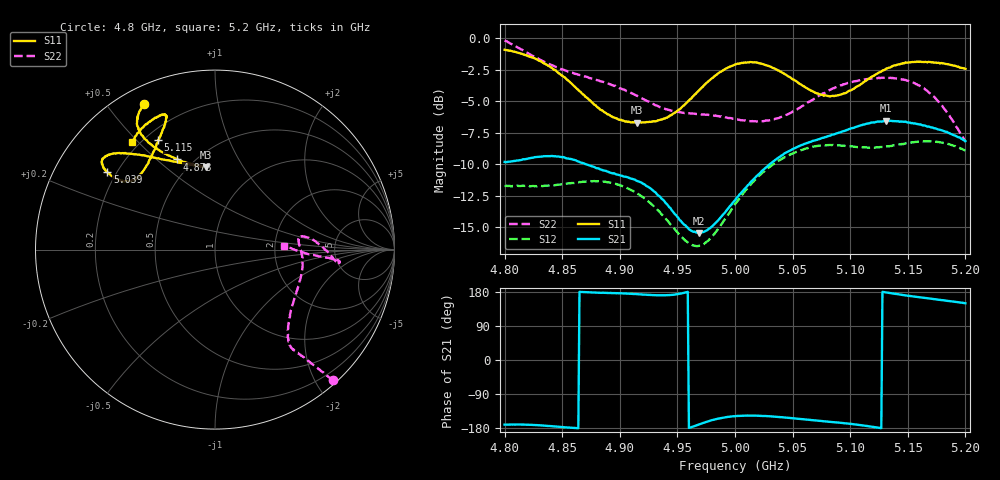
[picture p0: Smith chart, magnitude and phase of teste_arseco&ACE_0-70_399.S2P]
! Network Analyzer HP8722D
! Hewlett-Packard
! Data name: Linha & Wilkinson
! Saver's name: Rodrigo Anjos
! Comments: Teste da utilização de aquisição
! continua pelo VNA HP8722D
! Time and date: 8/5/2025 16:05
!  Frequency  S11  S21  S12  S22
# HZ  S  MA R 50
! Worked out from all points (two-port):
!   401 points, 4.8 GHz to 5.2 GHz, reference 50 ohm
!   highest |S21| = -6.54 dB at 5.131 GHz (marker M1); lowest = -15.5 dB at 4.969 GHz (marker M2)
!   |S21| within 3 dB of the highest: 4.821 GHz to 4.854 GHz (32.7 MHz wide, 0.676 % of centre); 5.037 GHz to end of sweep
!   lowest |S11| = -6.7 dB at 4.915 GHz (marker M3), VSWR 2.72, Z = 29.9 + j34.9 ohm
!   |S11| at or under -10 dB: nowhere
!   |S22| runs from -8.2 to -0.2 dB; largest |S21 - S12| = 0.83
!   S11 on the Smith chart (normalised r, x): 4.8 GHz: 0.07, +0.62; 4.878 GHz: 0.41, +0.59; 5.039 GHz: 0.16, +0.32; 5.115 GHz: 0.25, +0.58; 5.2 GHz: 0.17, +0.48
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4.8e9  0.9013 115.8  0.3226 -170.6  0.2588 -86.2  0.9816 -48.0
4.819e9  0.8585 120.2  0.3316 -170.7  0.2584 -82.0  0.8798 -49.1
4.835e9  0.7928 122.5  0.34 -173.4  0.2595 -76.8  0.8055 -50.1
4.867e9  0.6046 117.7  0.3202 179.3  0.2684 -67.8  0.712 -51.9
4.878e9  0.5447 112.7  0.3077 177.8  0.2707 -66.5  0.6883 -52.1
4.899e9  0.475 101.2  0.2864 176.0  0.2621 -67.3  0.6375 -50.3
4.915e9  0.4627 96.3  0.271 173.6  0.2421 -69.0  0.5913 -46.4
4.934e9  0.4728 99.9  0.2361 170.7  0.2056 -69.9  0.5356 -37.0
4.957e9  0.5493 116.2  0.1804 178.4  0.1568 -59.9  0.5052 -21.9
4.969e9  0.6229 124.3  0.1682 -169.6  0.1497 -46.5  0.5006 -14.7
4.981e9  0.6985 130.5  0.1803 -158.1  0.1645 -33.1  0.4934 -8.6
5e9  0.7865 137.5  0.227 -148.3  0.2189 -21.6  0.4777 -0.2
5.018e9  0.8026 141.7  0.2807 -146.8  0.2755 -18.8  0.4682 5.8
5.039e9  0.74 144.2  0.338 -150.5  0.3281 -19.0  0.4846 8.7
5.067e9  0.6175 142.1  0.3905 -158.7  0.3703 -21.3  0.5683 3.9
5.088e9  0.5921 132.9  0.4189 -164.7  0.3752 -24.5  0.6402 -2.5
5.115e9  0.6872 117.5  0.4582 -174.3  0.3677 -27.4  0.6898 -6.1
5.131e9  0.7577 111.5  0.4709 178.3  0.3713 -29.1  0.6976 -5.8
5.134e9  0.7652 110.9  0.4693 177.0  0.3723 -29.5  0.6964 -5.6
5.16e9  0.8068 112.2  0.4542 165.7  0.3884 -35.6  0.6491 -4.4
5.178e9  0.7949 118.3  0.4329 158.7  0.386 -41.3  0.5514 -3.2
5.2e9  0.7575 127.7  0.3902 149.7  0.3582 -47.3  0.3876 3.3
